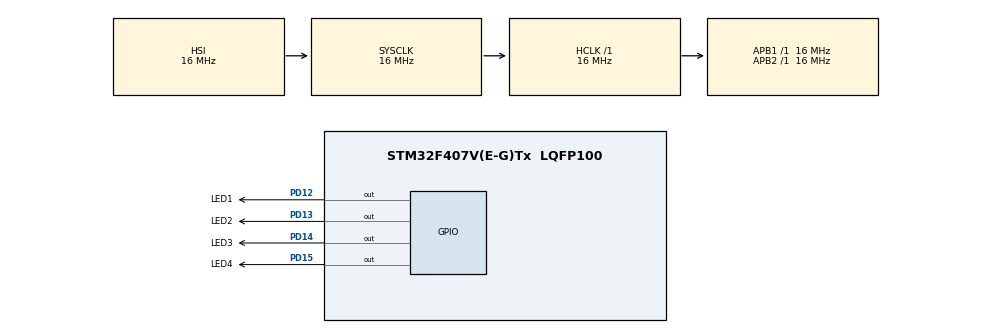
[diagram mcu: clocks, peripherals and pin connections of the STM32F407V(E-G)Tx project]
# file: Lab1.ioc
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Mcu.Family=STM32F4
Mcu.Name=STM32F407V(E-G)Tx
Mcu.Package=LQFP100
NVIC.PriorityGroup=NVIC_PRIORITYGROUP_4
PD12.GPIO_Label=LED1
PD12.Signal=GPIO_Output
PD13.GPIO_Label=LED2
PD13.Signal=GPIO_Output
PD14.GPIO_Label=LED3
PD14.Signal=GPIO_Output
PD15.GPIO_Label=LED4
PD15.Signal=GPIO_Output
ProjectManager.HeapSize=0x200
ProjectManager.StackSize=0x400
ProjectManager.TargetToolchain=STM32CubeIDE
RCC.AHBFreq_Value=16000000
RCC.APB1Freq_Value=16000000
RCC.APB2Freq_Value=16000000
RCC.CortexFreq_Value=16000000
RCC.HSE_VALUE=25000000
RCC.HSI_VALUE=16000000
RCC.LSE_VALUE=32768
RCC.SYSCLKFreq_VALUE=16000000
RCC.VCOOutputFreq_Value=192000000
board=custom

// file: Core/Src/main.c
/* USER CODE BEGIN Header */
/**
  ******************************************************************************
  * @file           : main.c
  * @brief          : Main program body
  ******************************************************************************
  * @attention
  *
  * <h2><center>&copy; Copyright (c) 2021 STMicroelectronics.
  * All rights reserved.</center></h2>
  *
  * This software component is licensed by ST under BSD 3-Clause license,
  * the "License"; You may not use this file except in compliance with the
  * License. You may obtain a copy of the License at:
  *                        opensource.org/licenses/BSD-3-Clause
  *
  ******************************************************************************
  */
/* USER CODE END Header */
#include "main.h"

/* USER CODE BEGIN PV */

#define DELAY 500
#define BLINK_CYCLES_QUANTITY 2

/* USER CODE END PV */

void SystemClock_Config(void);
static void MX_GPIO_Init(void);

/* USER CODE BEGIN 0 */

void pair_blink(uint16_t *array, uint16_t array_len){
	  for (uint16_t i=0; i<BLINK_CYCLES_QUANTITY; i++){
		  for (uint16_t j=0; j<array_len; j++){
			  HAL_GPIO_WritePin(GPIOD,array[j],GPIO_PIN_SET);
			  HAL_Delay(DELAY);
			  HAL_GPIO_WritePin(GPIOD,array[j],GPIO_PIN_RESET);
		}
	  }
}
	  uint16_t pins_pair_blink[] = {LED1_Pin|LED3_Pin, LED2_Pin|LED4_Pin};

void cross_blink(uint16_t *array,uint16_t array_len){
	  for (uint16_t i=0; i<BLINK_CYCLES_QUANTITY; i++){
		  for(uint16_t j=0;j<array_len;j++){
			  HAL_GPIO_WritePin(GPIOD,array[j],GPIO_PIN_SET);
			  HAL_Delay(DELAY);
		  }
		  HAL_GPIO_WritePin(GPIOD,LED1_Pin|LED2_Pin|LED3_Pin|LED4_Pin,GPIO_PIN_RESET);
		  HAL_Delay(DELAY);
	  }
}

	  uint16_t pins_cross_blink[] = {LED1_Pin,LED3_Pin,LED2_Pin,LED4_Pin};

	void diagonal_cross_blink(uint16_t *array,uint16_t array_len){
		  for (uint16_t i=0; i<BLINK_CYCLES_QUANTITY; i++){
			  for(uint16_t j=0;j<array_len;j++){
				  HAL_GPIO_WritePin(GPIOD,array[j],GPIO_PIN_SET);
				  HAL_Delay(DELAY);
				  HAL_GPIO_WritePin(GPIOD,array[j],GPIO_PIN_RESET);
			  }
		  }
	  }

	uint16_t pins_diagonal_cross_blink[] = {LED1_Pin|LED2_Pin, LED3_Pin|LED4_Pin};

/* USER CODE END 0 */

int main(void)
{

  /* MCU Configuration--------------------------------------------------------*/

  /* Reset of all peripherals, Initializes the Flash interface and the Systick. */
  HAL_Init();

  /* Configure the system clock */
  SystemClock_Config();

  /* Initialize all configured peripherals */
  MX_GPIO_Init();

  /* Infinite loop */
  /* USER CODE BEGIN WHILE */

  while (1)
  {
	  pair_blink(pins_pair_blink, sizeof(pins_pair_blink)/sizeof(pins_pair_blink[0]));
	  cross_blink(pins_cross_blink,sizeof(pins_cross_blink)/sizeof(pins_cross_blink[0]));
	  diagonal_cross_blink(pins_diagonal_cross_blink,sizeof(pins_diagonal_cross_blink)/sizeof(pins_diagonal_cross_blink[0]));

    /* USER CODE END WHILE */

  }
}

void SystemClock_Config(void)
{
  RCC_OscInitTypeDef RCC_OscInitStruct = {0};
  RCC_ClkInitTypeDef RCC_ClkInitStruct = {0};

  /** Configure the main internal regulator output voltage
  */
  __HAL_RCC_PWR_CLK_ENABLE();
  __HAL_PWR_VOLTAGESCALING_CONFIG(PWR_REGULATOR_VOLTAGE_SCALE1);
  /** Initializes the RCC Oscillators according to the specified parameters
  * in the RCC_OscInitTypeDef structure.
  */
  RCC_OscInitStruct.OscillatorType = RCC_OSCILLATORTYPE_HSI;
  RCC_OscInitStruct.HSIState = RCC_HSI_ON;
  RCC_OscInitStruct.HSICalibrationValue = RCC_HSICALIBRATION_DEFAULT;
  RCC_OscInitStruct.PLL.PLLState = RCC_PLL_NONE;
  if (HAL_RCC_OscConfig(&RCC_OscInitStruct) != HAL_OK)
  {
    Error_Handler();
  }
  /** Initializes the CPU, AHB and APB buses clocks
  */
  RCC_ClkInitStruct.ClockType = RCC_CLOCKTYPE_HCLK|RCC_CLOCKTYPE_SYSCLK
                              |RCC_CLOCKTYPE_PCLK1|RCC_CLOCKTYPE_PCLK2;
  RCC_ClkInitStruct.SYSCLKSource = RCC_SYSCLKSOURCE_HSI;
  RCC_ClkInitStruct.AHBCLKDivider = RCC_SYSCLK_DIV1;
  RCC_ClkInitStruct.APB1CLKDivider = RCC_HCLK_DIV1;
  RCC_ClkInitStruct.APB2CLKDivider = RCC_HCLK_DIV1;

  if (HAL_RCC_ClockConfig(&RCC_ClkInitStruct, FLASH_LATENCY_0) != HAL_OK)
  {
    Error_Handler();
  }
}

static void MX_GPIO_Init(void)
{
  GPIO_InitTypeDef GPIO_InitStruct = {0};

  /* GPIO Ports Clock Enable */
  __HAL_RCC_GPIOD_CLK_ENABLE();

  /*Configure GPIO pin Output Level */
  HAL_GPIO_WritePin(GPIOD, LED1_Pin|LED2_Pin|LED3_Pin|LED4_Pin, GPIO_PIN_RESET);

  /*Configure GPIO pins : LED1_Pin LED2_Pin LED3_Pin LED4_Pin */
  GPIO_InitStruct.Pin = LED1_Pin|LED2_Pin|LED3_Pin|LED4_Pin;
  GPIO_InitStruct.Mode = GPIO_MODE_OUTPUT_PP;
  GPIO_InitStruct.Pull = GPIO_NOPULL;
  GPIO_InitStruct.Speed = GPIO_SPEED_FREQ_LOW;
  HAL_GPIO_Init(GPIOD, &GPIO_InitStruct);

}

void Error_Handler(void)
{
  __disable_irq();
  while (1)
  {
  }
}

/************************ (C) COPYRIGHT STMicroelectronics *****END OF FILE****/
